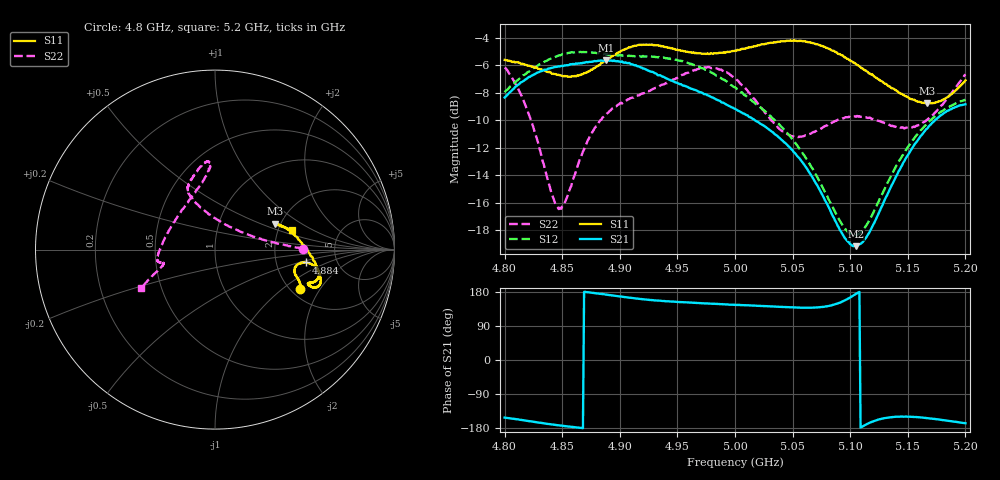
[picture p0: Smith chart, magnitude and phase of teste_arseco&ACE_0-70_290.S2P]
! Network Analyzer HP8722D
! Hewlett-Packard
! Data name: Linha & Wilkinson
! Saver's name: Rodrigo Anjos
! Comments: Teste da utilização de aquisição
! continua pelo VNA HP8722D
! Time and date: 8/5/2025 15:10
!  Frequency  S11  S21  S12  S22
# HZ  S  MA R 50
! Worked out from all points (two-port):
!   401 points, 4.8 GHz to 5.2 GHz, reference 50 ohm
!   highest |S21| = -5.63 dB at 4.888 GHz (marker M1); lowest = -19.2 dB at 5.105 GHz (marker M2)
!   |S21| within 3 dB of the highest: start of sweep to 4.987 GHz
!   lowest |S11| = -8.8 dB at 5.167 GHz (marker M3), VSWR 2.14, Z = 93.5 + j31 ohm
!   |S11| at or under -10 dB: nowhere
!   |S22| runs from -16.5 to -6.1 dB; largest |S21 - S12| = 1.1
!   S11 on the Smith chart (normalised r, x): 4.8 GHz: 2.24, -1.36; 4.884 GHz: 2.97, -0.58; 5.2 GHz: 2.36, +0.65
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4.8e9  0.524 -25.0  0.3826 -152.0  0.3996 7.2  0.491 0.5
4.818e9  0.5038 -20.9  0.4449 -159.8  0.4652 4.6  0.3586 5.2
4.846e9  0.4625 -16.1  0.4952 -172.0  0.5418 -0.0  0.1526 55.3
4.853e9  0.4572 -14.7  0.5008 -174.7  0.5536 -1.2  0.1612 80.7
4.867e9  0.4634 -10.6  0.5097 -179.5  0.5593 -3.2  0.2368 107.3
4.884e9  0.5112 -8.1  0.5217 174.3  0.5517 -4.4  0.3174 114.7
4.888e9  0.5227 -8.2  0.5228 172.6  0.5503 -4.3  0.3313 114.7
4.912e9  0.5889 -11.8  0.5027 163.0  0.5414 -3.5  0.3817 112.9
4.934e9  0.591 -16.9  0.4612 156.5  0.5374 -4.2  0.4192 107.3
4.975e9  0.5512 -20.1  0.3923 149.2  0.4825 -7.7  0.4908 95.3
5e9  0.5659 -20.8  0.3478 145.5  0.4164 -7.4  0.4519 94.4
5.039e9  0.6115 -19.5  0.2718 140.3  0.303 -0.2  0.2925 125.4
5.053e9  0.6157 -17.3  0.2372 138.6  0.2593 3.1  0.2749 146.0
5.067e9  0.6047 -14.2  0.1965 138.2  0.2117 8.5  0.2847 165.2
5.093e9  0.545 -4.6  0.1222 154.1  0.1317 33.4  0.3214 -173.7
5.105e9  0.507 1.1  0.1099 174.3  0.1203 56.5  0.3255 -169.9
5.116e9  0.4691 6.7  0.1221 -166.9  0.1352 76.9  0.3224 -167.8
5.134e9  0.4198 15.6  0.176 -151.5  0.1924 94.1  0.3041 -166.6
5.152e9  0.3785 21.9  0.2433 -149.7  0.2586 98.9  0.2965 -164.7
5.167e9  0.3638 23.3  0.2952 -153.3  0.3083 99.3  0.3178 -161.6
5.182e9  0.3784 21.0  0.337 -159.1  0.3463 99.3  0.3688 -158.0
5.2e9  0.4414 14.6  0.3612 -166.8  0.3757 99.9  0.4644 -152.3
